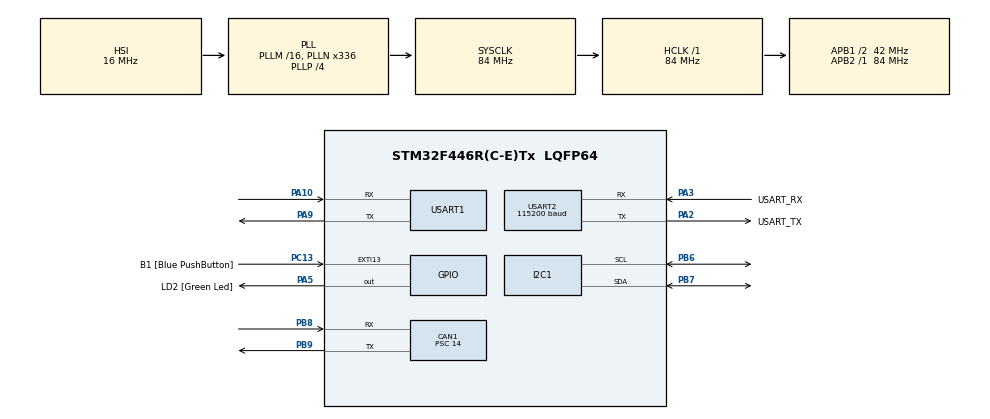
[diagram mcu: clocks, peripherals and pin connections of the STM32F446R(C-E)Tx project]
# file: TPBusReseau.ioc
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CAN1.BS1=CAN_BS1_2TQ
CAN1.BS2=CAN_BS2_3TQ
CAN1.CalculateBaudRate=499999
CAN1.CalculateTimeBit=2000
CAN1.CalculateTimeQuantum=333.33333333333337
CAN1.Prescaler=14
CAN1.SJW=CAN_SJW_2TQ
Mcu.Family=STM32F4
Mcu.Name=STM32F446R(C-E)Tx
Mcu.Package=LQFP64
NVIC.PriorityGroup=NVIC_PRIORITYGROUP_0
NVIC.USART1_IRQn=true\:0\:0\:false\:false\:true\:true\:true\:true
NVIC.USART2_IRQn=true\:0\:0\:false\:false\:true\:true\:true\:true
PA10.Mode=Asynchronous
PA10.Signal=USART1_RX
PA13.GPIO_Label=TMS
PA13.Mode=Serial_Wire
PA13.Signal=SYS_JTMS-SWDIO
PA14.GPIO_Label=TCK
PA14.Mode=Serial_Wire
PA14.Signal=SYS_JTCK-SWCLK
PA2.GPIO_Label=USART_TX
PA2.Mode=Asynchronous
PA2.Signal=USART2_TX
PA3.GPIO_Label=USART_RX
PA3.Mode=Asynchronous
PA3.Signal=USART2_RX
PA5.GPIO_Label=LD2 [Green Led]
PA5.Signal=GPIO_Output
PA9.Mode=Asynchronous
PA9.Signal=USART1_TX
PB3.GPIO_Label=SWO
PB3.Signal=SYS_JTDO-SWO
PB6.Mode=I2C
PB6.Signal=I2C1_SCL
PB7.Mode=I2C
PB7.Signal=I2C1_SDA
PB8.Mode=CAN_Activate
PB8.Signal=CAN1_RX
PB9.Mode=CAN_Activate
PB9.Signal=CAN1_TX
PC13.GPIO_Label=B1 [Blue PushButton]
PC13.GPIO_ModeDefaultEXTI=GPIO_MODE_IT_FALLING
PC13.Signal=GPXTI13
PC14-OSC32_IN.Mode=LSE-External-Oscillator
PC14-OSC32_IN.Signal=RCC_OSC32_IN
PC15-OSC32_OUT.Mode=LSE-External-Oscillator
PC15-OSC32_OUT.Signal=RCC_OSC32_OUT
PH0-OSC_IN.Mode=HSE-External-Oscillator
PH0-OSC_IN.Signal=RCC_OSC_IN
PH1-OSC_OUT.Mode=HSE-External-Oscillator
PH1-OSC_OUT.Signal=RCC_OSC_OUT
ProjectManager.HeapSize=0x200
ProjectManager.StackSize=0x400
ProjectManager.TargetToolchain=STM32CubeIDE
RCC.48MHZClocksFreq_Value=84000000
RCC.AHBFreq_Value=84000000
RCC.APB1CLKDivider=RCC_HCLK_DIV2
RCC.APB1Freq_Value=42000000
RCC.APB1TimFreq_Value=84000000
RCC.APB2Freq_Value=84000000
RCC.APB2TimFreq_Value=84000000
RCC.CortexFreq_Value=84000000
RCC.FLatency-AdvancedSettings=FLASH_LATENCY_2
RCC.HCLKFreq_Value=84000000
RCC.HSE_VALUE=8000000
RCC.HSI_VALUE=16000000
RCC.PLLN=336
RCC.PLLP=RCC_PLLP_DIV4
RCC.SYSCLKFreq_VALUE=84000000
RCC.SYSCLKSource=RCC_SYSCLKSOURCE_PLLCLK
RCC.USBFreq_Value=168000000
RCC.VCOOutputFreq_Value=336000000
USART1.VirtualMode=VM_ASYNC
USART2.BaudRate=115200
USART2.VirtualMode=VM_ASYNC
board=NUCLEO-F446RE

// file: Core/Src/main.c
/* USER CODE BEGIN Header */
/**
  ******************************************************************************
  * @file           : main.c
  * @brief          : Main program body
  ******************************************************************************
  * @attention
  *
  * Copyright (c) 2022 STMicroelectronics.
  * All rights reserved.
  *
  * This software is licensed under terms that can be found in the LICENSE file
  * in the root directory of this software component.
  * If no LICENSE file comes with this software, it is provided AS-IS.
  *
  ******************************************************************************
  */
/* USER CODE END Header */
#include "main.h"

/* USER CODE BEGIN Includes */
#include "mot_api.h"
#include "capt_api.h"

#include <strings.h>
#include <math.h>
#include <stdio.h>
/* USER CODE END Includes */

CAN_HandleTypeDef hcan1;

I2C_HandleTypeDef hi2c1;

UART_HandleTypeDef huart1;
UART_HandleTypeDef huart2;

/* USER CODE BEGIN PV */
extern int temp_flag;
int uart1_flag = 0;
char uart1_buff;
int uart1_index = 0;
char uart1_word[32];
/* USER CODE END PV */

void SystemClock_Config(void);
static void MX_GPIO_Init(void);
static void MX_USART2_UART_Init(void);
static void MX_CAN1_Init(void);
static void MX_I2C1_Init(void);
static void MX_USART1_UART_Init(void);

int main(void)
{
  /* USER CODE BEGIN 1 */
	int ret = 0;
	int size = 0;
	char sprintf_buff[32];

	// Stores latest values
	float temp = 0;
	float pres = 0;
	float K = 0;
	uint8_t angle = 0;
  /* USER CODE END 1 */

  /* MCU Configuration--------------------------------------------------------*/

  /* Reset of all peripherals, Initializes the Flash interface and the Systick. */
  HAL_Init();

  /* Configure the system clock */
  SystemClock_Config();

  /* Initialize all configured peripherals */
  MX_GPIO_Init();
  MX_USART2_UART_Init();
  MX_CAN1_Init();
  MX_I2C1_Init();
  MX_USART1_UART_Init();
  /* USER CODE BEGIN 2 */
  HAL_CAN_Start(&hcan1);

  capt_ping();
  capt_param();

  mot_reset(&hcan1);

  HAL_UART_Receive_IT(&huart1, &uart1_buff, 1);
  /* USER CODE END 2 */

  /* Infinite loop */
  /* USER CODE BEGIN WHILE */
  while (1)
  {
	  if (uart1_flag == 1)
	  {
		  if (uart1_buff == 0x0D)
		  {
			  uart1_word[uart1_index-1] = 0;
			  printf("%s\r\n", uart1_word);

			  // Get temp
			  if (strcmp(uart1_word, "GET_T") == 0) {
				  temp = capt_temp();
				  size = sprintf(sprintf_buff, "%f", temp);
				  HAL_UART_Transmit(&huart1, sprintf_buff, size, HAL_MAX_DELAY);
			  }

			  // Get pres
			  else if (strcmp(uart1_word, "GET_P") == 0) {
				  pres = capt_temp();
				  size = sprintf(sprintf_buff, "%f", pres);
				  HAL_UART_Transmit(&huart1, sprintf_buff, size, HAL_MAX_DELAY);
			  }

			  // Set K
			  else if (memcmp(uart1_word, "SET_K=", 6) == 0) {
				  if (uart1_word[13] != 0) {
					  HAL_UART_Transmit(&huart2, "\nInvalid number\r\n", 17, HAL_MAX_DELAY);
				  }
				  else {
					  for (int i = 0; i < 7; i++) {
						  K += (float)uart1_word[i+6] * pow(10, 1-i);
					  }
					  HAL_UART_Transmit(&huart2, "\nK set\r\n", 8, HAL_MAX_DELAY);
				  }
			  }

			  // Get K
			  else if (strcmp(uart1_word, "GET_K") == 0) {
				  size = sprintf(sprintf_buff, "%f", K);
				  HAL_UART_Transmit(&huart1, sprintf_buff, size, HAL_MAX_DELAY);
			  }

			  // Get angle
			  else if (strcmp(uart1_word, "GET_A") == 0) {
				  angle = (int)(K * temp/100);
				  size = sprintf(sprintf_buff, "%f", angle);
				  HAL_UART_Transmit(&huart1, sprintf_buff, size, HAL_MAX_DELAY);
			  }

			  // Command undefined
			  else {
				  HAL_UART_Transmit(&huart2, "\nUnknown\r\n", 10, HAL_MAX_DELAY);
			  }

		  uart1_word[0] = 0;
		  uart1_index = 0;
		  }
	  uart1_flag = 0;
	  }

	  if (temp_flag == 1)
	  {
		  if (K == 0) {
			  printf("Coeff is equal to 0, set it to get an angle\r\n");
		  }
		  else {
			  angle = (int)(K * (temp/100));
			  if (angle >= 0) {
				  if (mot_angle(&hcan1, (angle%380), MOT_ROT_CLK) != 0){
					  printf("mot_angle command failed, error code %d\r\n", ret);
				  }
			  }
			  else {
				  if (mot_angle(&hcan1, (360-(angle%360)), MOT_ROT_ACLK) != 0){
					  printf("mot_angle command failed, error code %d\r\n", ret);
				  }
			  }
		  }
		  temp_flag = 0;
	  }
    /* USER CODE END WHILE */

  }
}

void SystemClock_Config(void)
{
  RCC_OscInitTypeDef RCC_OscInitStruct = {0};
  RCC_ClkInitTypeDef RCC_ClkInitStruct = {0};

  /** Configure the main internal regulator output voltage
  */
  __HAL_RCC_PWR_CLK_ENABLE();
  __HAL_PWR_VOLTAGESCALING_CONFIG(PWR_REGULATOR_VOLTAGE_SCALE3);

  /** Initializes the RCC Oscillators according to the specified parameters
  * in the RCC_OscInitTypeDef structure.
  */
  RCC_OscInitStruct.OscillatorType = RCC_OSCILLATORTYPE_HSI;
  RCC_OscInitStruct.HSIState = RCC_HSI_ON;
  RCC_OscInitStruct.HSICalibrationValue = RCC_HSICALIBRATION_DEFAULT;
  RCC_OscInitStruct.PLL.PLLState = RCC_PLL_ON;
  RCC_OscInitStruct.PLL.PLLSource = RCC_PLLSOURCE_HSI;
  RCC_OscInitStruct.PLL.PLLM = 16;
  RCC_OscInitStruct.PLL.PLLN = 336;
  RCC_OscInitStruct.PLL.PLLP = RCC_PLLP_DIV4;
  RCC_OscInitStruct.PLL.PLLQ = 2;
  RCC_OscInitStruct.PLL.PLLR = 2;
  if (HAL_RCC_OscConfig(&RCC_OscInitStruct) != HAL_OK)
  {
    Error_Handler();
  }

  /** Initializes the CPU, AHB and APB buses clocks
  */
  RCC_ClkInitStruct.ClockType = RCC_CLOCKTYPE_HCLK|RCC_CLOCKTYPE_SYSCLK
                              |RCC_CLOCKTYPE_PCLK1|RCC_CLOCKTYPE_PCLK2;
  RCC_ClkInitStruct.SYSCLKSource = RCC_SYSCLKSOURCE_PLLCLK;
  RCC_ClkInitStruct.AHBCLKDivider = RCC_SYSCLK_DIV1;
  RCC_ClkInitStruct.APB1CLKDivider = RCC_HCLK_DIV2;
  RCC_ClkInitStruct.APB2CLKDivider = RCC_HCLK_DIV1;

  if (HAL_RCC_ClockConfig(&RCC_ClkInitStruct, FLASH_LATENCY_2) != HAL_OK)
  {
    Error_Handler();
  }
}

static void MX_CAN1_Init(void)
{

  hcan1.Instance = CAN1;
  hcan1.Init.Prescaler = 14;
  hcan1.Init.Mode = CAN_MODE_NORMAL;
  hcan1.Init.SyncJumpWidth = CAN_SJW_2TQ;
  hcan1.Init.TimeSeg1 = CAN_BS1_2TQ;
  hcan1.Init.TimeSeg2 = CAN_BS2_3TQ;
  hcan1.Init.TimeTriggeredMode = DISABLE;
  hcan1.Init.AutoBusOff = DISABLE;
  hcan1.Init.AutoWakeUp = DISABLE;
  hcan1.Init.AutoRetransmission = DISABLE;
  hcan1.Init.ReceiveFifoLocked = DISABLE;
  hcan1.Init.TransmitFifoPriority = DISABLE;
  if (HAL_CAN_Init(&hcan1) != HAL_OK)
  {
    Error_Handler();
  }

}

static void MX_I2C1_Init(void)
{

  hi2c1.Instance = I2C1;
  hi2c1.Init.ClockSpeed = 100000;
  hi2c1.Init.DutyCycle = I2C_DUTYCYCLE_2;
  hi2c1.Init.OwnAddress1 = 0;
  hi2c1.Init.AddressingMode = I2C_ADDRESSINGMODE_7BIT;
  hi2c1.Init.DualAddressMode = I2C_DUALADDRESS_DISABLE;
  hi2c1.Init.OwnAddress2 = 0;
  hi2c1.Init.GeneralCallMode = I2C_GENERALCALL_DISABLE;
  hi2c1.Init.NoStretchMode = I2C_NOSTRETCH_DISABLE;
  if (HAL_I2C_Init(&hi2c1) != HAL_OK)
  {
    Error_Handler();
  }

}

static void MX_USART1_UART_Init(void)
{

  huart1.Instance = USART1;
  huart1.Init.BaudRate = 115200;
  huart1.Init.WordLength = UART_WORDLENGTH_8B;
  huart1.Init.StopBits = UART_STOPBITS_1;
  huart1.Init.Parity = UART_PARITY_NONE;
  huart1.Init.Mode = UART_MODE_TX_RX;
  huart1.Init.HwFlowCtl = UART_HWCONTROL_NONE;
  huart1.Init.OverSampling = UART_OVERSAMPLING_16;
  if (HAL_UART_Init(&huart1) != HAL_OK)
  {
    Error_Handler();
  }

}

static void MX_USART2_UART_Init(void)
{

  huart2.Instance = USART2;
  huart2.Init.BaudRate = 115200;
  huart2.Init.WordLength = UART_WORDLENGTH_8B;
  huart2.Init.StopBits = UART_STOPBITS_1;
  huart2.Init.Parity = UART_PARITY_NONE;
  huart2.Init.Mode = UART_MODE_TX_RX;
  huart2.Init.HwFlowCtl = UART_HWCONTROL_NONE;
  huart2.Init.OverSampling = UART_OVERSAMPLING_16;
  if (HAL_UART_Init(&huart2) != HAL_OK)
  {
    Error_Handler();
  }

}

static void MX_GPIO_Init(void)
{
  GPIO_InitTypeDef GPIO_InitStruct = {0};

  /* GPIO Ports Clock Enable */
  __HAL_RCC_GPIOC_CLK_ENABLE();
  __HAL_RCC_GPIOH_CLK_ENABLE();
  __HAL_RCC_GPIOA_CLK_ENABLE();
  __HAL_RCC_GPIOB_CLK_ENABLE();

  /*Configure GPIO pin Output Level */
  HAL_GPIO_WritePin(LD2_GPIO_Port, LD2_Pin, GPIO_PIN_RESET);

  /*Configure GPIO pin : B1_Pin */
  GPIO_InitStruct.Pin = B1_Pin;
  GPIO_InitStruct.Mode = GPIO_MODE_IT_FALLING;
  GPIO_InitStruct.Pull = GPIO_NOPULL;
  HAL_GPIO_Init(B1_GPIO_Port, &GPIO_InitStruct);

  /*Configure GPIO pin : LD2_Pin */
  GPIO_InitStruct.Pin = LD2_Pin;
  GPIO_InitStruct.Mode = GPIO_MODE_OUTPUT_PP;
  GPIO_InitStruct.Pull = GPIO_NOPULL;
  GPIO_InitStruct.Speed = GPIO_SPEED_FREQ_LOW;
  HAL_GPIO_Init(LD2_GPIO_Port, &GPIO_InitStruct);

}

void Error_Handler(void)
{
  __disable_irq();
  while (1)
  {
  }
}
